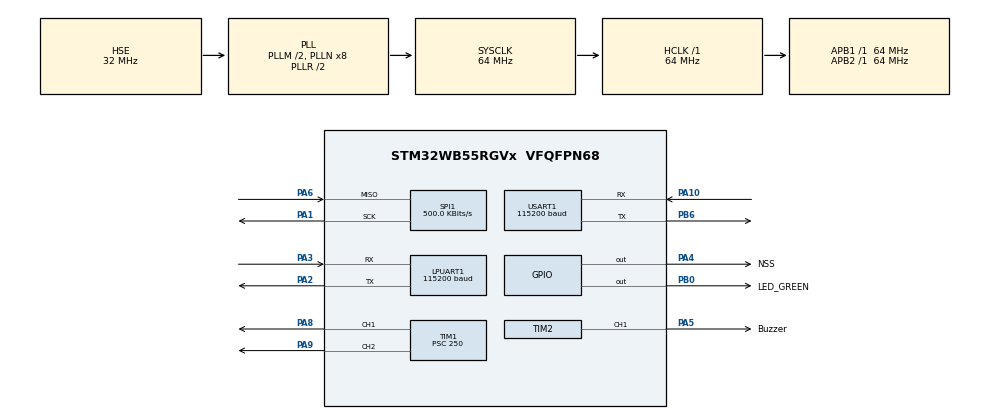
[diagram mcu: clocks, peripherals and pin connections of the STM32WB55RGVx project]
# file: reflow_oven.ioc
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LPUART1.BaudRate=115200
Mcu.Family=STM32WB
Mcu.Name=STM32WB55RGVx
Mcu.Package=VFQFPN68
NVIC.LPUART1_IRQn=true\:0\:0\:true\:false\:true\:true\:true\:true
NVIC.PriorityGroup=NVIC_PRIORITYGROUP_4
NVIC.SPI1_IRQn=true\:0\:0\:false\:false\:true\:true\:true\:true
NVIC.TIM1_TRG_COM_TIM17_IRQn=true\:0\:0\:false\:false\:true\:true\:true\:true
NVIC.TIM1_UP_TIM16_IRQn=true\:0\:0\:false\:false\:true\:true\:true\:true
NVIC.TIM2_IRQn=true\:0\:0\:false\:false\:true\:true\:true\:true
NVIC.USART1_IRQn=true\:0\:0\:true\:false\:true\:true\:true\:true
OSC_IN.Mode=HSE-External-Oscillator
OSC_IN.Signal=RCC_OSC_IN
OSC_OUT.Mode=HSE-External-Oscillator
OSC_OUT.Signal=RCC_OSC_OUT
PA1.Mode=RX_Only_Simplex_Unidirect_Master
PA1.Signal=SPI1_SCK
PA10.GPIO_ModeDefaultPP=GPIO_MODE_AF_PP
PA10.GPIO_Speed=GPIO_SPEED_FREQ_LOW
PA10.Mode=Asynchronous
PA10.Signal=USART1_RX
PA13.Mode=Serial_Wire
PA13.Signal=SYS_JTMS-SWDIO
PA14.Mode=Serial_Wire
PA14.Signal=SYS_JTCK-SWCLK
PA2.Mode=Asynchronous
PA2.Signal=LPUART1_TX
PA3.Mode=Asynchronous
PA3.Signal=LPUART1_RX
PA4.GPIO_Label=NSS
PA4.Signal=GPIO_Output
PA5.GPIO_Label=Buzzer
PA5.Signal=S_TIM2_CH1
PA6.Mode=RX_Only_Simplex_Unidirect_Master
PA6.Signal=SPI1_MISO
PA8.Signal=S_TIM1_CH1
PA9.Signal=S_TIM1_CH2
PB0.GPIO_Label=LED_GREEN
PB0.Signal=GPIO_Output
PB6.GPIO_ModeDefaultPP=GPIO_MODE_AF_PP
PB6.Mode=Asynchronous
PB6.Signal=USART1_TX
ProjectManager.HeapSize=0x200
ProjectManager.StackSize=0x400
ProjectManager.TargetToolchain=STM32CubeIDE
RCC.ADCFreq_Value=64000000
RCC.AHB2CLKDivider=RCC_SYSCLK_DIV2
RCC.AHBFreq_Value=64000000
RCC.APB1Freq_Value=64000000
RCC.APB1TimFreq_Value=64000000
RCC.APB2Freq_Value=64000000
RCC.APB2TimFreq_Value=64000000
RCC.APB3Freq_Value=16000000
RCC.Cortex2_Div=SYSTICK_CLKSOURCE_HCLK_DIV8
RCC.CortexFreq_Value=64000000
RCC.HCLKFreq_Value=64000000
RCC.HSE_VALUE=32000000
RCC.HSI48_VALUE=48000000
RCC.HSI_VALUE=16000000
RCC.LSE_VALUE=32768
RCC.MSIClockRange=RCC_MSIRANGE_10
RCC.PLLM=RCC_PLLM_DIV2
RCC.PLLSourceVirtual=RCC_PLLSOURCE_HSE
RCC.SYSCLKFreq_VALUE=64000000
RCC.SYSCLKSource=RCC_SYSCLKSOURCE_PLLCLK
RCC.USBFreq_Value=64000000
RCC.VCOOutputFreq_Value=128000000
SH.S_TIM1_CH1.0=TIM1_CH1,PWM Generation1 CH1
SH.S_TIM1_CH2.0=TIM1_CH2,PWM Generation2 CH2
SH.S_TIM2_CH1.0=TIM2_CH1,PWM Generation1 CH1
SPI1.BaudRatePrescaler=SPI_BAUDRATEPRESCALER_128
SPI1.CalculateBaudRate=500.0 KBits/s
SPI1.DataSize=SPI_DATASIZE_8BIT
SPI1.Direction=SPI_DIRECTION_2LINES_RXONLY
SPI1.Mode=SPI_MODE_MASTER
SPI1.VirtualType=VM_MASTER
TIM1.Channel-PWM\ Generation1\ CH1=TIM_CHANNEL_1
TIM1.Channel-PWM\ Generation2\ CH2=TIM_CHANNEL_2
TIM1.Period=256
TIM1.Prescaler=250
TIM1.Pulse-PWM\ Generation1\ CH1=0
TIM1.Pulse-PWM\ Generation2\ CH2=0
TIM16.Period=500
TIM16.Prescaler=64000
TIM17.Period=50
TIM17.Prescaler=64000-1
TIM2.Channel-PWM\ Generation1\ CH1=TIM_CHANNEL_1
TIM2.Period=4
TIM2.Prescaler=8000-1
TIM2.Pulse-PWM\ Generation1\ CH1=2
USART1.BaudRate=115200
USART1.VirtualMode-Asynchronous=VM_ASYNC
VP_TIM16_VS_ClockSourceINT.Mode=Enable_Timer
VP_TIM17_VS_ClockSourceINT.Mode=Enable_Timer
board=custom

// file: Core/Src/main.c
/* USER CODE BEGIN Header */
/**
 ******************************************************************************
 * @file           : main.c
 * @brief          : Main program body
 ******************************************************************************
 * @attention
 *
 * Copyright (c) 2022 STMicroelectronics.
 * All rights reserved.
 *
 * This software is licensed under terms that can be found in the LICENSE file
 * in the root directory of this software component.
 * If no LICENSE file comes with this software, it is provided AS-IS.
 *
 ******************************************************************************
 */
/* USER CODE END Header */
#include "main.h"

/* USER CODE BEGIN Includes */
#include "stdarg.h"
#include "string.h"
#include "stdbool.h"
#include "stdio.h"
#include "math.h"

#include "MAX31855.h"
#include "pid.h"
#include "nextion.h"
#include "reflow_temps_lut.h"
/* USER CODE END Includes */

/* USER CODE BEGIN PTD */

struct _rfo_t {

	UART_HandleTypeDef* uart;
	uint8_t rcv[20];
	uint8_t trm[20];

	SPI_HandleTypeDef* spi;

	uint16_t idx;
	bool print;

	TIM_HandleTypeDef* buzPwmTim;
	TIM_HandleTypeDef* buzElapsTim;

	TIM_HandleTypeDef* ssrTim;

	uint8_t ssr1Ch;
	uint8_t ssr2Ch;

	uint8_t numBeeps;
	uint8_t cntBeeps;

	uint8_t currentReflowState;
	float targetTemp;
	uint32_t elaps;

	bool dataRdy;
	uint8_t packetId;
	float temp;
	float dTemp;

	uint16_t dutyCycle;
	uint16_t pwmFreq;

	uint8_t currentPage;

};
typedef struct _rfo_t rfo_t;

struct _rfo_paste_t {
	float PREHEAT_START_TIME;
	float PREHEAT_DURATION;
	float PREHEAT_START_TEMP;
	float PREHEAT_END_TEMP;

	float SOAK_DURATION;
	float SOAK_START_TEMP;
	float SOAK_END_TEMP;
	float SOAK_START_TIME;

	float RAMP_DURATION;
	float RAMP_START_TEMP;
	float RAMP_END_TEMP;
	float RAMP_START_TIME;

	float REFLOW_DURATION;
	float REFLOW_START_TEMP;
	float REFLOW_END_TEMP;
	float REFLOW_START_TIME;

	float COOL_DURATION;
	float COOL_END_TEMP;
	float COOL_START_TIME;

	float PREHEAT_TEMP_INCREASE;
	float SOAK_TEMP_INCREASE;
	float RAMP_TEMP_INCREASE;
	float REFLOW_TEMP_INCREASE;
	float COOL_TEMP_DECREASE;

};
typedef struct _rfo_paste_t rfo_paste_t;

char *rfoCmdLut[] = {"pwm -s --duty", "pwm -s --freq", "temp -m --cont",
		"start -p --nonleaded", "stop" ,"calibrate", "help"
};

struct _rfo_fsm_t {
	bool connected;
	bool streaming;
	uint8_t state;
};
typedef struct _rfo_fsm_t rfo_fsm_t;

enum _rfoStates {
	RFO_IDLE,
	RFO_PROCESS_CMD,
	RFO_PWM_SET_FREQ,
	RFO_PWM_SET_DUTY,
	RFO_GET_TEMP,
	RFO_START,
	RFO_STOP,
	RFO_TRANSMIT,
	RFO_CALIBRATE,
	RFO_RESET,
	RFO_HELP,
	RFO_STATES,
};

enum _reflowStates_t
{
	REFLOW_STATE_IDLE,
	REFLOW_STATE_DEBUG,
	REFLOW_STATE_PREPARE,
	REFLOW_STATE_PREHEAT,
	REFLOW_STATE_SOAK,
	REFLOW_STATE_RAMP,
	REFLOW_STATE_REFLOW,
	REFLOW_STATE_COOL,
	REFLOW_STATE_COMPLETE,
	REFLOW_STATE_TOO_HOT,
	REFLOW_STATES
};

enum _dp_page_ids {
	DP_LOADING,
	DP_MAIN,
	DP_SETTINGS,
	DP_PAGES
};

/* USER CODE END PTD */

/* USER CODE BEGIN PD */
#define MCU_FREQ_KHZ 64000
#define RFO_DEFAULT_DUTY 50
#define RFO_DEFAULT_PWM_FREQ_KHZ 10

#define DEBUG 0

/* USER CODE END PD */

/* USER CODE BEGIN PM */

#define _RFO_INIT(_dev, _uartHandle, _spiHandle, _buzPwmTim, _buzElapsTim, _ssrTim, _dutyCycle, _pwmFreq) \
		do{ \
			(_dev)-> uart =  _uartHandle; \
			(_dev)-> spi = _spiHandle; \
			(_dev)-> buzPwmTim = _buzPwmTim; \
			(_dev)-> buzElapsTim = _buzElapsTim; \
			(_dev)-> ssrTim = _ssrTim; \
			(_dev)-> numBeeps = 0; \
			(_dev)-> cntBeeps = 0; \
			(_dev)-> idx = 0; \
			(_dev)-> currentReflowState = REFLOW_STATE_IDLE; \
			(_dev)-> elaps = 0; \
			(_dev)-> targetTemp = 0; \
			(_dev)-> dataRdy = false; \
			(_dev)-> packetId = 0; \
			(_dev)-> temp = 0; \
			(_dev)-> dutyCycle = _dutyCycle; \
			(_dev)-> pwmFreq = _pwmFreq; \
			(_dev)-> currentPage = DP_LOADING; \
		} while(0)

#define _RFO_FSM_INIT(_fsm) \
		do{ \
			(_fsm)->state = RFO_IDLE; \
			(_fsm)->connected = false; \
			(_fsm)->streaming = false; \
		} while(0)

#define _RFO_PERIPHERAL_INIT() \
		do{ \
			HAL_UART_Receive_IT(&hlpuart1, dev->rcv, 1);\
			__HAL_TIM_SET_COMPARE(&htim2, TIM_CHANNEL_1, 0);\
			HAL_TIM_PWM_Start(&htim2, TIM_CHANNEL_1);\
			__HAL_TIM_SET_COMPARE(&htim1, TIM_CHANNEL_1, 0);\
			__HAL_TIM_SET_COMPARE(&htim1, TIM_CHANNEL_2, 0);\
			HAL_TIM_PWM_Start(&htim1, TIM_CHANNEL_1);\
			HAL_TIM_PWM_Start(&htim1, TIM_CHANNEL_2);\
		} while(0)

/* USER CODE END PM */

UART_HandleTypeDef hlpuart1;
UART_HandleTypeDef huart1;

SPI_HandleTypeDef hspi1;

TIM_HandleTypeDef htim1;
TIM_HandleTypeDef htim2;
TIM_HandleTypeDef htim16;
TIM_HandleTypeDef htim17;

/* USER CODE BEGIN PV */
rfo_t rfoDevObj;
rfo_t* dev = &rfoDevObj;

rfo_fsm_t rfoFsmObj;
rfo_fsm_t* fsm = & rfoFsmObj;

rfo_paste_t configObj;
rfo_paste_t* config = &configObj;

max31855_t max81855Obj;
max31855_t* tempSens = &max81855Obj;

PIDController pidObj;

PIDController* pid = &pidObj;

nextion_t dpObj;

nextion_t* dp = &dpObj;

/*
Lead-Free Reflow Curve
======================
Temperature (Degree Celcius)
245-|                                               x  x
    |                                            x   |     x
    |                                         x      |        x
    |                                      x         |           x
130-|                                   x            |              x
    |                              x    |            |              |   x
    |                         x         |            |              |       x
    |                    x              |            |              |
 90-|               x                   |            |              |
    |             x |                   |            |              |
    |           x   |                   |            |              |
    |         x     |                   |            |              |
    |       x       |                   |            |              |
    |     x         |                   |            |              |
    |   x           |                   |            |              |
30 -| x             |                   |            |              |
    |  <  90 s  >|<          90 s      >| <   30   > |
    | Preheat Stage |   Soaking Stage   | Ramp Stage |              | Cool
 0  |_ _ _ _ _ _ _ _|_ _ _ _ _ _ _ _ _ _|_ _ _ _ _ _ |_ _ _ _ _ _ _ |_ _ _ _ _
                                                               Time (Seconds)
 */

const float kP 					=		50;//39;
const float kI 					=		.5f;//1;
const float kD 					=		35;//31;
const float tau			    	=		0.2f;
const float limMin 				=   	0;
const float limMax 				=   	256;
const float limMinInt 			=   	-60.0f;
const float limMaxInt 			=   	60.0f;

/* USER CODE END PV */

void SystemClock_Config(void);
void PeriphCommonClock_Config(void);
static void MX_GPIO_Init(void);
static void MX_LPUART1_UART_Init(void);
static void MX_SPI1_Init(void);
static void MX_TIM16_Init(void);
static void MX_TIM2_Init(void);
static void MX_TIM17_Init(void);
static void MX_TIM1_Init(void);
static void MX_USART1_UART_Init(void);
/* USER CODE BEGIN PFP */
void clear_buffer(uint8_t* buf, uint32_t len);
void beep_IT(rfo_t *dev, uint8_t numBeeps);
/* USER CODE END PFP */

/* USER CODE BEGIN 0 */
void clear_buffer(uint8_t* buf, uint32_t len)
{
	for(int z = 0; z < len; z++)
	{
		buf[z] = '\0';
	}
}

void beep_IT(rfo_t* dev, uint8_t numBeeps) {
	dev->numBeeps = numBeeps;
	dev->cntBeeps = 0;
	__HAL_TIM_SET_COMPARE(dev->buzPwmTim, TIM_CHANNEL_1, 2);
	__HAL_TIM_CLEAR_FLAG(dev->buzElapsTim, TIM_SR_UIF);
	HAL_TIM_Base_Start_IT(dev->buzElapsTim);

}

void assign_reflow_temps_from_lut(rfo_paste_t* config, const float* lut) {
	config->PREHEAT_START_TIME 	= lut[0];
	config->PREHEAT_DURATION	= lut[1];
	config->PREHEAT_START_TEMP	= lut[2];
	config->PREHEAT_END_TEMP	= lut[3];

	config->SOAK_START_TIME		= lut[4];
	config->SOAK_DURATION		= lut[5];
	config->SOAK_START_TEMP		= lut[6];
	config->SOAK_END_TEMP		= lut[7];

	config->RAMP_START_TIME		= lut[8];
	config->RAMP_DURATION		= lut[9];
	config->RAMP_START_TEMP		= lut[10];
	config->RAMP_END_TEMP		= lut[11];

	config->REFLOW_START_TIME	= lut[12];
	config->REFLOW_DURATION		= lut[13];
	config->REFLOW_START_TEMP	= lut[14];
	config->REFLOW_END_TEMP		= lut[15];

	config->COOL_START_TIME		= lut[16];
	config->COOL_DURATION		= lut[17];
	config->COOL_END_TEMP		= lut[18];

	config->PREHEAT_TEMP_INCREASE	= lut[19];
	config->SOAK_TEMP_INCREASE		= lut[20];
	config->RAMP_TEMP_INCREASE		= lut[21];
	config->REFLOW_TEMP_INCREASE	= lut[22];
	config->COOL_TEMP_DECREASE		= lut[23];
}

/* USER CODE END 0 */

int main(void)
{

	/* MCU Configuration--------------------------------------------------------*/

	/* Reset of all peripherals, Initializes the Flash interface and the Systick. */
	HAL_Init();

	/* Configure the system clock */
	SystemClock_Config();

	/* Configure the peripherals common clocks */
	PeriphCommonClock_Config();

	/* Initialize all configured peripherals */
	MX_GPIO_Init();
	MX_LPUART1_UART_Init();
	MX_SPI1_Init();
	MX_TIM16_Init();
	MX_TIM2_Init();
	MX_TIM17_Init();
	MX_TIM1_Init();
	MX_USART1_UART_Init();
	/* USER CODE BEGIN 2 */

	_RFO_INIT(dev, &hlpuart1, &hspi1 ,&htim2, &htim17, &htim2, RFO_DEFAULT_DUTY, RFO_DEFAULT_PWM_FREQ_KHZ);
	_RFO_FSM_INIT(fsm);

	//assign_reflow_temps_from_lut(config, TS391LT50);
	assign_reflow_temps_from_lut(config, SMD291AX50T3);

	HAL_UART_Receive(&huart1, dp->rcv, 50, 1000); // Resets UART buffers, so isr is not fired on boot
	HAL_UART_Receive_IT(&huart1, dp->rcv, 4);

	nextion_init(dp, &huart1);
	char buf[100];

	dp->write_id_val(dp, "j0", 0);

	_RFO_PERIPHERAL_INIT();

	MAX31855_init(tempSens, NSS_GPIO_Port, NSS_Pin, &hspi1);

	PIDController_Init(pid, kP, kI, kD, SAMPLE_TIME, tau, limMin, limMax, limMinInt, limMaxInt);

	dp->write_id_val(dp, "j0", 100);
	HAL_Delay(1000);

	dp->write(dp, "page main");
	dev->currentPage = DP_MAIN;
	nextion_print_page(dp);

	/* USER CODE END 2 */

	/* Infinite loop */
	while (1)
	{

		/* USER CODE BEGIN 3 */
		switch(fsm->state)
		{

		case RFO_IDLE:
			break;

		case RFO_PROCESS_CMD:
			if(dev->rcv[0] == '\r') {
				HAL_UART_Transmit(dev->uart, (uint8_t*)"\r\n", 2 , 100);
				buf[dev->idx] = '\0';
				for(int i = 0; i < 7; i++) {
					if(!strcmp(buf, rfoCmdLut[i]))
					{
						switch(i)
						{
						case 0:
							fsm->state = RFO_PWM_SET_DUTY;
							break;
						case 1:
							fsm->state = RFO_PWM_SET_FREQ;
							break;
						case 2:
							fsm->state = RFO_GET_TEMP;
							beep_IT(dev, 2);
							break;
						case 3:
							beep_IT(dev, 3);
							fsm->state = RFO_START;
							dp->write(dp, "page reflow");
							dp->write_id_str(dp, "conState", "Connected");
							dp->write_id_str(dp, "reflowState", "Prepare");
							dp->write_id_val(dp, "reflowProgress", 0);
							dev->currentReflowState = REFLOW_STATE_PREPARE;
							HAL_TIM_Base_Start_IT(&htim16);
							break;
						case 4:
							fsm->state = RFO_STOP;
							break;
						case 5:
							fsm->state = RFO_CALIBRATE;
							break;
						case 6:
							fsm->state = RFO_HELP;
							break;
						default:
							break;
						}
						dev->idx = 0;
						break;
					}

				}

				if(fsm->state == RFO_PROCESS_CMD) {

					fsm->state = RFO_IDLE;

				}
				dev->idx = 0;
				clear_buffer((uint8_t*)buf, 100);

			}

			else if(dev->rcv[0] == '\177') {
				if(dev->idx > 0)
				{
					buf[dev->idx-1] = '\0';
					dev->idx -= 1;
					fsm->state = RFO_IDLE;
				}
			}

			else {
				buf[dev->idx] = dev->rcv[0];
				dev->idx += 1;
				clear_buffer((dev->rcv), 20);
				fsm->state = RFO_IDLE;
			}

			break;

		case RFO_PWM_SET_DUTY:
			__NOP();
			break;

		case RFO_PWM_SET_FREQ:
			__NOP();
			break;

		case RFO_GET_TEMP:
			__NOP();
			HAL_TIM_Base_Start_IT(&htim16);
			fsm->state = RFO_TRANSMIT;
			break;

		case RFO_START:
			__NOP();
			if(dev->dataRdy) {
				dev->dataRdy = false;

				PIDController_Update(pid, dev->targetTemp, dev->temp);

				__HAL_TIM_SET_COMPARE(&htim1, TIM_CHANNEL_1, pid->out);
				__HAL_TIM_SET_COMPARE(&htim1, TIM_CHANNEL_2, pid->out);

				sprintf(buf, "%.2f\n", dev->temp);
				HAL_UART_Transmit(dev->uart, (uint8_t*)buf, strlen(buf), 100);

				sprintf(buf, "%.2f\n", dev->targetTemp);
				HAL_UART_Transmit(dev->uart, (uint8_t*)buf, strlen(buf), 100);

				sprintf(buf, "%.2f\n", pid->out);
				HAL_UART_Transmit(dev->uart, (uint8_t*)buf, strlen(buf), 100);

			}
			break;

		case RFO_TRANSMIT:
			if(dev->dataRdy) {
				dev->dataRdy = false;
				sprintf(buf, "Temp is: %.2f\r\n", dev->temp);
				HAL_UART_Transmit(dev->uart, (uint8_t*)buf, strlen(buf), 100);
			}
			break;

		case RFO_STOP:
			break;

		case RFO_HELP:
			__NOP();
			sprintf(buf, "Help Page for RFO\r\n");
			HAL_UART_Transmit(dev->uart, (uint8_t*)buf, strlen(buf), 100);
			sprintf(buf, "Commands: ");
			HAL_UART_Transmit(dev->uart, (uint8_t*)buf, strlen(buf), 100);
			sprintf(buf, "pwm -<OPTION> --<INSTRUCTION>\r\n");
			HAL_UART_Transmit(dev->uart, (uint8_t*)buf, strlen(buf), 100);
			sprintf(buf, "          Options: -s\r\n");
			HAL_UART_Transmit(dev->uart, (uint8_t*)buf, strlen(buf), 100);
			sprintf(buf, "          Instructions: --duty, --freq");
			HAL_UART_Transmit(dev->uart, (uint8_t*)buf, strlen(buf), 100);

			sprintf(buf, "\r\n");
			HAL_UART_Transmit(dev->uart, (uint8_t*)buf, strlen(buf), 100);

			HAL_UART_Transmit(dev->uart, (uint8_t*)buf, strlen(buf), 100);
			sprintf(buf, "          temp -<OPTION> --<INSTRUCTION>\r\n");
			HAL_UART_Transmit(dev->uart, (uint8_t*)buf, strlen(buf), 100);
			sprintf(buf, "          Options: -m\r\n");
			HAL_UART_Transmit(dev->uart, (uint8_t*)buf, strlen(buf), 100);
			sprintf(buf, "          Instructions: --cont, --single\r\n");
			HAL_UART_Transmit(dev->uart, (uint8_t*)buf, strlen(buf), 100);

			sprintf(buf, "\r\n");
			HAL_UART_Transmit(dev->uart, (uint8_t*)buf, strlen(buf), 100);

			sprintf(buf, "          start -<OPTION> --<INSTRUCTION>\r\n");
			HAL_UART_Transmit(dev->uart, (uint8_t*)buf, strlen(buf), 100);
			sprintf(buf, "          Options: -p\r\n");
			HAL_UART_Transmit(dev->uart, (uint8_t*)buf, strlen(buf), 100);
			sprintf(buf, "          Instructions: --nonleaded, --leaded\r\n");
			HAL_UART_Transmit(dev->uart, (uint8_t*)buf, strlen(buf), 100);

			fsm->state = RFO_IDLE;
			break;

		}

	}

	/* USER CODE END 3 */
}

void SystemClock_Config(void)
{
	RCC_OscInitTypeDef RCC_OscInitStruct = {0};
	RCC_ClkInitTypeDef RCC_ClkInitStruct = {0};

	/** Configure the main internal regulator output voltage
	 */
	__HAL_PWR_VOLTAGESCALING_CONFIG(PWR_REGULATOR_VOLTAGE_SCALE1);

	/** Initializes the RCC Oscillators according to the specified parameters
	 * in the RCC_OscInitTypeDef structure.
	 */
	RCC_OscInitStruct.OscillatorType = RCC_OSCILLATORTYPE_HSI|RCC_OSCILLATORTYPE_HSE;
	RCC_OscInitStruct.HSEState = RCC_HSE_ON;
	RCC_OscInitStruct.HSIState = RCC_HSI_ON;
	RCC_OscInitStruct.HSICalibrationValue = RCC_HSICALIBRATION_DEFAULT;
	RCC_OscInitStruct.PLL.PLLState = RCC_PLL_ON;
	RCC_OscInitStruct.PLL.PLLSource = RCC_PLLSOURCE_HSE;
	RCC_OscInitStruct.PLL.PLLM = RCC_PLLM_DIV2;
	RCC_OscInitStruct.PLL.PLLN = 8;
	RCC_OscInitStruct.PLL.PLLP = RCC_PLLP_DIV2;
	RCC_OscInitStruct.PLL.PLLR = RCC_PLLR_DIV2;
	RCC_OscInitStruct.PLL.PLLQ = RCC_PLLQ_DIV2;
	if (HAL_RCC_OscConfig(&RCC_OscInitStruct) != HAL_OK)
	{
		Error_Handler();
	}

	/** Configure the SYSCLKSource, HCLK, PCLK1 and PCLK2 clocks dividers
	 */
	RCC_ClkInitStruct.ClockType = RCC_CLOCKTYPE_HCLK4|RCC_CLOCKTYPE_HCLK2
			|RCC_CLOCKTYPE_HCLK|RCC_CLOCKTYPE_SYSCLK
			|RCC_CLOCKTYPE_PCLK1|RCC_CLOCKTYPE_PCLK2;
	RCC_ClkInitStruct.SYSCLKSource = RCC_SYSCLKSOURCE_PLLCLK;
	RCC_ClkInitStruct.AHBCLKDivider = RCC_SYSCLK_DIV1;
	RCC_ClkInitStruct.APB1CLKDivider = RCC_HCLK_DIV1;
	RCC_ClkInitStruct.APB2CLKDivider = RCC_HCLK_DIV1;
	RCC_ClkInitStruct.AHBCLK2Divider = RCC_SYSCLK_DIV2;
	RCC_ClkInitStruct.AHBCLK4Divider = RCC_SYSCLK_DIV1;

	if (HAL_RCC_ClockConfig(&RCC_ClkInitStruct, FLASH_LATENCY_3) != HAL_OK)
	{
		Error_Handler();
	}
}

void PeriphCommonClock_Config(void)
{
	RCC_PeriphCLKInitTypeDef PeriphClkInitStruct = {0};

	/** Initializes the peripherals clock
	 */
	PeriphClkInitStruct.PeriphClockSelection = RCC_PERIPHCLK_SMPS;
	PeriphClkInitStruct.SmpsClockSelection = RCC_SMPSCLKSOURCE_HSI;
	PeriphClkInitStruct.SmpsDivSelection = RCC_SMPSCLKDIV_RANGE1;

	if (HAL_RCCEx_PeriphCLKConfig(&PeriphClkInitStruct) != HAL_OK)
	{
		Error_Handler();
	}
}

static void MX_LPUART1_UART_Init(void)
{

	hlpuart1.Instance = LPUART1;
	hlpuart1.Init.BaudRate = 115200;
	hlpuart1.Init.WordLength = UART_WORDLENGTH_8B;
	hlpuart1.Init.StopBits = UART_STOPBITS_1;
	hlpuart1.Init.Parity = UART_PARITY_NONE;
	hlpuart1.Init.Mode = UART_MODE_TX_RX;
	hlpuart1.Init.HwFlowCtl = UART_HWCONTROL_NONE;
	hlpuart1.Init.OneBitSampling = UART_ONE_BIT_SAMPLE_DISABLE;
	hlpuart1.Init.ClockPrescaler = UART_PRESCALER_DIV1;
	hlpuart1.AdvancedInit.AdvFeatureInit = UART_ADVFEATURE_NO_INIT;
	hlpuart1.FifoMode = UART_FIFOMODE_DISABLE;
	if (HAL_UART_Init(&hlpuart1) != HAL_OK)
	{
		Error_Handler();
	}
	if (HAL_UARTEx_SetTxFifoThreshold(&hlpuart1, UART_TXFIFO_THRESHOLD_1_8) != HAL_OK)
	{
		Error_Handler();
	}
	if (HAL_UARTEx_SetRxFifoThreshold(&hlpuart1, UART_RXFIFO_THRESHOLD_1_8) != HAL_OK)
	{
		Error_Handler();
	}
	if (HAL_UARTEx_DisableFifoMode(&hlpuart1) != HAL_OK)
	{
		Error_Handler();
	}

}

static void MX_USART1_UART_Init(void)
{

	huart1.Instance = USART1;
	huart1.Init.BaudRate = 115200;
	huart1.Init.WordLength = UART_WORDLENGTH_8B;
	huart1.Init.StopBits = UART_STOPBITS_1;
	huart1.Init.Parity = UART_PARITY_NONE;
	huart1.Init.Mode = UART_MODE_TX_RX;
	huart1.Init.HwFlowCtl = UART_HWCONTROL_NONE;
	huart1.Init.OverSampling = UART_OVERSAMPLING_16;
	huart1.Init.OneBitSampling = UART_ONE_BIT_SAMPLE_DISABLE;
	huart1.Init.ClockPrescaler = UART_PRESCALER_DIV1;
	huart1.AdvancedInit.AdvFeatureInit = UART_ADVFEATURE_NO_INIT;
	if (HAL_UART_Init(&huart1) != HAL_OK)
	{
		Error_Handler();
	}
	if (HAL_UARTEx_SetTxFifoThreshold(&huart1, UART_TXFIFO_THRESHOLD_1_8) != HAL_OK)
	{
		Error_Handler();
	}
	if (HAL_UARTEx_SetRxFifoThreshold(&huart1, UART_RXFIFO_THRESHOLD_1_8) != HAL_OK)
	{
		Error_Handler();
	}
	if (HAL_UARTEx_DisableFifoMode(&huart1) != HAL_OK)
	{
		Error_Handler();
	}

}

static void MX_SPI1_Init(void)
{

	/* SPI1 parameter configuration*/
	hspi1.Instance = SPI1;
	hspi1.Init.Mode = SPI_MODE_MASTER;
	hspi1.Init.Direction = SPI_DIRECTION_2LINES_RXONLY;
	hspi1.Init.DataSize = SPI_DATASIZE_8BIT;
	hspi1.Init.CLKPolarity = SPI_POLARITY_LOW;
	hspi1.Init.CLKPhase = SPI_PHASE_1EDGE;
	hspi1.Init.NSS = SPI_NSS_SOFT;
	hspi1.Init.BaudRatePrescaler = SPI_BAUDRATEPRESCALER_128;
	hspi1.Init.FirstBit = SPI_FIRSTBIT_MSB;
	hspi1.Init.TIMode = SPI_TIMODE_DISABLE;
	hspi1.Init.CRCCalculation = SPI_CRCCALCULATION_DISABLE;
	hspi1.Init.CRCPolynomial = 7;
	hspi1.Init.CRCLength = SPI_CRC_LENGTH_DATASIZE;
	hspi1.Init.NSSPMode = SPI_NSS_PULSE_ENABLE;
	if (HAL_SPI_Init(&hspi1) != HAL_OK)
	{
		Error_Handler();
	}

}

static void MX_TIM1_Init(void)
{

	TIM_MasterConfigTypeDef sMasterConfig = {0};
	TIM_OC_InitTypeDef sConfigOC = {0};
	TIM_BreakDeadTimeConfigTypeDef sBreakDeadTimeConfig = {0};

	htim1.Instance = TIM1;
	htim1.Init.Prescaler = 250;
	htim1.Init.CounterMode = TIM_COUNTERMODE_UP;
	htim1.Init.Period = 256;
	htim1.Init.ClockDivision = TIM_CLOCKDIVISION_DIV1;
	htim1.Init.RepetitionCounter = 0;
	htim1.Init.AutoReloadPreload = TIM_AUTORELOAD_PRELOAD_DISABLE;
	if (HAL_TIM_PWM_Init(&htim1) != HAL_OK)
	{
		Error_Handler();
	}
	sMasterConfig.MasterOutputTrigger = TIM_TRGO_RESET;
	sMasterConfig.MasterOutputTrigger2 = TIM_TRGO2_RESET;
	sMasterConfig.MasterSlaveMode = TIM_MASTERSLAVEMODE_DISABLE;
	if (HAL_TIMEx_MasterConfigSynchronization(&htim1, &sMasterConfig) != HAL_OK)
	{
		Error_Handler();
	}
	sConfigOC.OCMode = TIM_OCMODE_PWM1;
	sConfigOC.Pulse = 0;
	sConfigOC.OCPolarity = TIM_OCPOLARITY_HIGH;
	sConfigOC.OCNPolarity = TIM_OCNPOLARITY_HIGH;
	sConfigOC.OCFastMode = TIM_OCFAST_DISABLE;
	sConfigOC.OCIdleState = TIM_OCIDLESTATE_RESET;
	sConfigOC.OCNIdleState = TIM_OCNIDLESTATE_RESET;
	if (HAL_TIM_PWM_ConfigChannel(&htim1, &sConfigOC, TIM_CHANNEL_1) != HAL_OK)
	{
		Error_Handler();
	}
	if (HAL_TIM_PWM_ConfigChannel(&htim1, &sConfigOC, TIM_CHANNEL_2) != HAL_OK)
	{
		Error_Handler();
	}
	sBreakDeadTimeConfig.OffStateRunMode = TIM_OSSR_DISABLE;
	sBreakDeadTimeConfig.OffStateIDLEMode = TIM_OSSI_DISABLE;
	sBreakDeadTimeConfig.LockLevel = TIM_LOCKLEVEL_OFF;
	sBreakDeadTimeConfig.DeadTime = 0;
	sBreakDeadTimeConfig.BreakState = TIM_BREAK_DISABLE;
	sBreakDeadTimeConfig.BreakPolarity = TIM_BREAKPOLARITY_HIGH;
	sBreakDeadTimeConfig.BreakFilter = 0;
	sBreakDeadTimeConfig.BreakAFMode = TIM_BREAK_AFMODE_INPUT;
	sBreakDeadTimeConfig.Break2State = TIM_BREAK2_DISABLE;
	sBreakDeadTimeConfig.Break2Polarity = TIM_BREAK2POLARITY_HIGH;
	sBreakDeadTimeConfig.Break2Filter = 0;
	sBreakDeadTimeConfig.Break2AFMode = TIM_BREAK_AFMODE_INPUT;
	sBreakDeadTimeConfig.AutomaticOutput = TIM_AUTOMATICOUTPUT_DISABLE;
	if (HAL_TIMEx_ConfigBreakDeadTime(&htim1, &sBreakDeadTimeConfig) != HAL_OK)
	{
		Error_Handler();
	}
	HAL_TIM_MspPostInit(&htim1);

}

static void MX_TIM2_Init(void)
{

	TIM_MasterConfigTypeDef sMasterConfig = {0};
	TIM_OC_InitTypeDef sConfigOC = {0};

	htim2.Instance = TIM2;
	htim2.Init.Prescaler = 8000-1;
	htim2.Init.CounterMode = TIM_COUNTERMODE_UP;
	htim2.Init.Period = 4;
	htim2.Init.ClockDivision = TIM_CLOCKDIVISION_DIV1;
	htim2.Init.AutoReloadPreload = TIM_AUTORELOAD_PRELOAD_DISABLE;
	if (HAL_TIM_PWM_Init(&htim2) != HAL_OK)
	{
		Error_Handler();
	}
	sMasterConfig.MasterOutputTrigger = TIM_TRGO_RESET;
	sMasterConfig.MasterSlaveMode = TIM_MASTERSLAVEMODE_DISABLE;
	if (HAL_TIMEx_MasterConfigSynchronization(&htim2, &sMasterConfig) != HAL_OK)
	{
		Error_Handler();
	}
	sConfigOC.OCMode = TIM_OCMODE_PWM1;
	sConfigOC.Pulse = 2;
	sConfigOC.OCPolarity = TIM_OCPOLARITY_HIGH;
	sConfigOC.OCFastMode = TIM_OCFAST_DISABLE;
	if (HAL_TIM_PWM_ConfigChannel(&htim2, &sConfigOC, TIM_CHANNEL_1) != HAL_OK)
	{
		Error_Handler();
	}
	HAL_TIM_MspPostInit(&htim2);

}

static void MX_TIM16_Init(void)
{

	htim16.Instance = TIM16;
	htim16.Init.Prescaler = 64000;
	htim16.Init.CounterMode = TIM_COUNTERMODE_UP;
	htim16.Init.Period = 500;
	htim16.Init.ClockDivision = TIM_CLOCKDIVISION_DIV1;
	htim16.Init.RepetitionCounter = 0;
	htim16.Init.AutoReloadPreload = TIM_AUTORELOAD_PRELOAD_DISABLE;
	if (HAL_TIM_Base_Init(&htim16) != HAL_OK)
	{
		Error_Handler();
	}

}

static void MX_TIM17_Init(void)
{

	htim17.Instance = TIM17;
	htim17.Init.Prescaler = 64000-1;
	htim17.Init.CounterMode = TIM_COUNTERMODE_UP;
	htim17.Init.Period = 50;
	htim17.Init.ClockDivision = TIM_CLOCKDIVISION_DIV1;
	htim17.Init.RepetitionCounter = 0;
	htim17.Init.AutoReloadPreload = TIM_AUTORELOAD_PRELOAD_DISABLE;
	if (HAL_TIM_Base_Init(&htim17) != HAL_OK)
	{
		Error_Handler();
	}

}

static void MX_GPIO_Init(void)
{
	GPIO_InitTypeDef GPIO_InitStruct = {0};

	/* GPIO Ports Clock Enable */
	__HAL_RCC_GPIOA_CLK_ENABLE();
	__HAL_RCC_GPIOB_CLK_ENABLE();

	/*Configure GPIO pin Output Level */
	HAL_GPIO_WritePin(NSS_GPIO_Port, NSS_Pin, GPIO_PIN_RESET);

	/*Configure GPIO pin Output Level */
	HAL_GPIO_WritePin(LED_GREEN_GPIO_Port, LED_GREEN_Pin, GPIO_PIN_RESET);

	/*Configure GPIO pin : NSS_Pin */
	GPIO_InitStruct.Pin = NSS_Pin;
	GPIO_InitStruct.Mode = GPIO_MODE_OUTPUT_PP;
	GPIO_InitStruct.Pull = GPIO_NOPULL;
	GPIO_InitStruct.Speed = GPIO_SPEED_FREQ_LOW;
	HAL_GPIO_Init(NSS_GPIO_Port, &GPIO_InitStruct);

	/*Configure GPIO pin : LED_GREEN_Pin */
	GPIO_InitStruct.Pin = LED_GREEN_Pin;
	GPIO_InitStruct.Mode = GPIO_MODE_OUTPUT_PP;
	GPIO_InitStruct.Pull = GPIO_NOPULL;
	GPIO_InitStruct.Speed = GPIO_SPEED_FREQ_LOW;
	HAL_GPIO_Init(LED_GREEN_GPIO_Port, &GPIO_InitStruct);

}

/* USER CODE BEGIN 4 */

void HAL_UART_TxCpltCallback(UART_HandleTypeDef *huart) {
	dp->trmRdy = 1;
}

void HAL_UART_RxCpltCallback(UART_HandleTypeDef *huart)
{
	if(huart->Instance == LPUART1){
		if(HAL_UART_Transmit(dev->uart, dev->rcv, 1, 1000) == HAL_OK) {
			fsm->state = RFO_PROCESS_CMD;
			HAL_UART_Receive_IT(dev->uart, dev->rcv, 1);
		}
	}
	else if(huart->Instance == USART1)  {

		nextion_decode_response(dp);

		switch(dp->response.page) {
		case DP_MAIN:  // page num main
			switch(dp->response.id) {
			case 2: // id of start button
				beep_IT(dev,3);
				dp->write(dp, "page reflow");
				dp->write_id_str(dp, "conState", "Not connected");
				dp->write_id_str(dp, "reflowState", "Prepare");
				dp->write_id_val(dp, "reflowProgress", 0);
				fsm->state = RFO_START;
				dev->currentReflowState = REFLOW_STATE_PREPARE;
				dev->print = true;
				HAL_TIM_Base_Start_IT(&htim16);
				break;
			case 3: // id of settings button
				beep_IT(dev,1);
				dp->write(dp, "page setting");
				dev->currentPage = DP_SETTINGS;
				break;
			}
			break;

			case DP_SETTINGS: // page num settings
				switch(dp->response.id) {
				case 2: // id of back arrow button
					dp->write(dp, "page main");
					dev->currentPage = DP_MAIN;
					nextion_print_page(dp);
					break;
				}
				break;

				case 3:
					switch(dp->response.id) {
					case 15: // id of abort button
						beep_IT(dev,3);
						HAL_TIM_Base_Stop_IT(&htim16);
						dev->currentReflowState = REFLOW_STATE_IDLE;
						fsm->state = RFO_IDLE;
						dev->elaps = 0;

						dp->write(dp, "page main");
						dev->currentPage = DP_MAIN;
						nextion_print_page(dp);
						break;
					}
					break;
		}

		HAL_UART_Receive_IT(&huart1, dp->rcv, 4);
	}
}

void HAL_TIM_PeriodElapsedCallback(TIM_HandleTypeDef *htim) {
	if(htim->Instance == TIM17) {

		if(dev->cntBeeps == 2*dev->numBeeps-1) {
			__HAL_TIM_SET_COMPARE(dev->buzPwmTim, TIM_CHANNEL_1, 0);
			HAL_TIM_Base_Stop_IT(dev->buzElapsTim);
			dev->cntBeeps = 0;
		}

		if(dev->cntBeeps % 2) {
			__HAL_TIM_SET_COMPARE(dev->buzPwmTim, TIM_CHANNEL_1, 2);
		}
		else {
			__HAL_TIM_SET_COMPARE(dev->buzPwmTim, TIM_CHANNEL_1, 0);
		}

		dev->cntBeeps += 1;

	}
	else if(htim->Instance == TIM16) {

		MAX31855_read_celsius(tempSens);
		dev->elaps += 1;
		dev->temp = tempSens->temp;

		switch(dev->currentReflowState){

		case REFLOW_STATE_DEBUG:
			break;

		case REFLOW_STATE_IDLE:
			break;

		case REFLOW_STATE_PREPARE:
			dev->targetTemp = 256;

			if(dev->temp > config->PREHEAT_START_TEMP) {
				beep_IT(dev,2);
				dev->currentReflowState = REFLOW_STATE_PREHEAT;
				dev->elaps = 0;
			}
			break;

		case REFLOW_STATE_PREHEAT:
			dp->write_id_str(dp, "reflowState", "PREHEAT");
			if(!(dev->elaps % 4) || dev->elaps == 1) {
				dev->targetTemp = (float)config->PREHEAT_START_TEMP + (config->PREHEAT_TEMP_INCREASE*SAMPLE_TIME)*dev->elaps;
			}

			if(dev->elaps == (float)config->PREHEAT_DURATION/SAMPLE_TIME) {
				beep_IT(dev,2);
				dev->currentReflowState = REFLOW_STATE_SOAK;
				dev->elaps = 0;
			}
			break;

		case REFLOW_STATE_SOAK:
			dp->write_id_str(dp, "reflowState", "SOAK");
			if(!(dev->elaps % 4) || dev->elaps == 1) {
				dev->targetTemp = (float)config->SOAK_START_TEMP + (config->SOAK_TEMP_INCREASE*SAMPLE_TIME)*dev->elaps;
			}
			if(dev->elaps == (float)config->SOAK_DURATION/SAMPLE_TIME) {
				beep_IT(dev,2);
				dev->currentReflowState = REFLOW_STATE_RAMP;
				dev->elaps = 0;
				pid->Kp = 50;
			}
			break;

		case REFLOW_STATE_RAMP:
			dp->write_id_str(dp, "reflowState", "RAMP");
			if(!(dev->elaps % 4) || dev->elaps == 1) {
				dev->targetTemp = (float)config->RAMP_START_TEMP + (config->RAMP_TEMP_INCREASE*SAMPLE_TIME)*dev->elaps;
			}
			if(dev->elaps == (float)config->RAMP_DURATION/SAMPLE_TIME) {
				beep_IT(dev,2);
				dev->currentReflowState = REFLOW_STATE_REFLOW;
				dev->elaps = 0;
			}
			break;

		case REFLOW_STATE_REFLOW:
			dp->write_id_str(dp, "reflowState", "REFLOW");
			if(!(dev->elaps % 4) || dev->elaps == 1) {
				dev->targetTemp = config->REFLOW_START_TEMP + (config->REFLOW_TEMP_INCREASE*SAMPLE_TIME)*dev->elaps;
			}
			if(dev->elaps == (float)config->REFLOW_DURATION/SAMPLE_TIME) {
				beep_IT(dev,2);
				dev->currentReflowState = REFLOW_STATE_COOL;
				dev->elaps = 0;
				__HAL_TIM_SET_COMPARE(&htim1, TIM_CHANNEL_1, 0);\
				__HAL_TIM_SET_COMPARE(&htim1, TIM_CHANNEL_2, 0);\
			}
			break;
		case REFLOW_STATE_COOL:
			dp->write_id_str(dp, "reflowState", "IDLE");
			if(!(dev->elaps % 4) || dev->elaps == 1) {
				dev->targetTemp = config->REFLOW_END_TEMP - (config->COOL_TEMP_DECREASE*SAMPLE_TIME)*dev->elaps;
			}
			if(dev->elaps == (float)config->COOL_DURATION/SAMPLE_TIME) {
				beep_IT(dev,5);
				dev->currentReflowState = REFLOW_STATE_IDLE;
				dev->elaps = 0;
				HAL_TIM_Base_Stop_IT(&htim16);
				dp->write(dp, "page main");
				dev->currentPage = DP_MAIN;
				nextion_print_page(dp);
			}
			break;

		}
		if(dev->currentReflowState != REFLOW_STATE_IDLE) {
			dp->write_id_float(dp, "targetTemp", dev->targetTemp);
			dp->write_id_float(dp, "currentTemp", dev->temp);
			dp->write_id_float(dp, "tempDiff", dev->targetTemp-dev->temp);
			dp->write_id_float(dp, "pidVal", pid->out);
		}

		dev->dataRdy = true;

	}

}

/* USER CODE END 4 */

void Error_Handler(void)
{
	__disable_irq();
	while (1)
	{
	}
}
